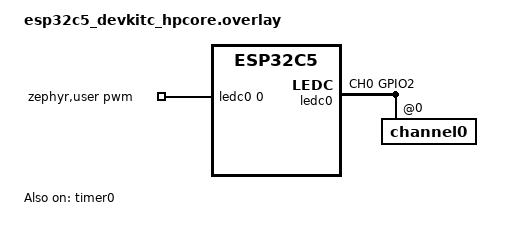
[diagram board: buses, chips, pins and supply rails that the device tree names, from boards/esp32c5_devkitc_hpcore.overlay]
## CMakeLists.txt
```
# SPDX-License-Identifier: Apache-2.0

cmake_minimum_required(VERSION 3.28.0)

find_package(Zephyr REQUIRED HINTS $ENV{ZEPHYR_BASE})
project(counter_capture)

target_sources(app PRIVATE src/capture_test.c)

# Select the trigger-source backend: the emulated counter on native_sim, a PWM
# looped back to the capture pad when the board enables PWM and declares
# "pwms" on /zephyr,user (no external wire), or a GPIO wired to the capture
# pin on other real hardware.
if(CONFIG_COUNTER_CAPTURE_MCUX_QTMR_XBAR_LOOPBACK)
  target_sources(app PRIVATE src/mcux_qtmr_xbar_src.c)
elseif(CONFIG_COUNTER_NATIVE_SIM)
  target_sources(app PRIVATE src/counter_capture_emul_src.c)
elseif(CONFIG_COUNTER_CAPTURE_TRIGGER_PWM)
  target_sources(app PRIVATE src/pwm_src.c)
else()
  target_sources(app PRIVATE src/gpio_src.c)
endif()
```

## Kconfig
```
# SPDX-FileCopyrightText: Copyright The Zephyr Project Contributors
# SPDX-License-Identifier: Apache-2.0

mainmenu "Counter capture test configuration"

source "Kconfig.zephyr"

config NUM_OF_CONTINUOUS_CAPTURES
	int "Number of continuous capture iterations"
	default 5
	range 1 255
	help
	  Number of capture iterations run by each continuous capture test case.

# The trigger source the board provides, from its devicetree
ZEPHYR_USER := zephyr,user

config COUNTER_CAPTURE_TRIGGER_PWM
	bool
	default $(dt_node_has_prop,/$(ZEPHYR_USER),pwms)
	select PWM
	help
	  A PWM output of the zephyr,user node drives the capture input.

config COUNTER_CAPTURE_TRIGGER_GPIO
	bool
	default $(dt_node_has_prop,/$(ZEPHYR_USER),capture-tester-gpios)
	select GPIO
	help
	  A GPIO of the zephyr,user node drives the capture input.

config COUNTER_CAPTURE_MCUX_QTMR_XBAR_LOOPBACK
	bool
	default y if SOC_MIMXRT1064 && !COUNTER_CAPTURE_TRIGGER_PWM && \
		!COUNTER_CAPTURE_TRIGGER_GPIO
	help
	  The RT1064-specific trigger-source backend of the test. It configures
	  XBARA1 and IOMUXC_GPR so QTMR3 timer 0 output drives QTMR1 timer 0
	  input internally, avoiding an external loopback wire while exercising
	  the MCUX QTMR capture path.
```

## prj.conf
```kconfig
CONFIG_COUNTER=y
CONFIG_COUNTER_CAPTURE=y

CONFIG_ZTEST=y
```

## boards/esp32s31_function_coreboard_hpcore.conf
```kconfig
CONFIG_PWM=y
CONFIG_COUNTER_CAPTURE_TOLERANCE_US=1000
```

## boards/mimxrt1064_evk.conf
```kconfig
CONFIG_COUNTER_CAPTURE_MCUX_QTMR_XBAR_LOOPBACK=y
CONFIG_COUNTER_CAPTURE_TOLERANCE_US=1000
```

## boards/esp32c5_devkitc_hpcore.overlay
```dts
/*
 * Copyright (c) 2026 Espressif Systems (Shanghai) Co., Ltd.
 *
 * SPDX-License-Identifier: Apache-2.0
 */

#include <zephyr/dt-bindings/pwm/pwm.h>

/*
 * The capture input is driven and captured on the same pad (GPIO2). A PWM
 * channel drives the pad and the GPIO matrix loops it back to the ETM capture
 * event, so no external wire is required.
 */

/ {
	zephyr,user {
		pwms = <&ledc0 0 PWM_USEC(100) PWM_POLARITY_NORMAL>;
	};

	counter_loopback_0: counter_loopback {
		compatible = "test-counter-capture";
		test-counter-captures = <&capture 0 0>;
	};
};

&pinctrl {
	ledc0_default: ledc0_default {
		group1 {
			pinmux = <LEDC_CH0_GPIO2>;
			/* Keep the input path live so the same pad feeds the capture event. */
			input-enable;
		};
	};
};

&ledc0 {
	pinctrl-0 = <&ledc0_default>;
	pinctrl-names = "default";
	status = "okay";
	#address-cells = <1>;
	#size-cells = <0>;

	channel0@0 {
		reg = <0x0>;
		timer = <0>;
	};
};

&timer0 {
	status = "okay";

	capture: counter {
		status = "okay";
		#counter-capture-cells = <2>;
		capture-gpios = <&gpio0 2 0>;
	};
};
```

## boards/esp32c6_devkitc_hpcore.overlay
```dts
/*
 * Copyright (c) 2026 Espressif Systems (Shanghai) Co., Ltd.
 *
 * SPDX-License-Identifier: Apache-2.0
 */

#include <zephyr/dt-bindings/pwm/pwm.h>

/*
 * The capture input is driven and captured on the same pad (GPIO2). A PWM
 * channel drives the pad and the GPIO matrix loops it back to the ETM capture
 * event, so no external wire is required.
 */

/ {
	zephyr,user {
		pwms = <&ledc0 0 PWM_USEC(100) PWM_POLARITY_NORMAL>;
	};

	counter_loopback_0: counter_loopback {
		compatible = "test-counter-capture";
		test-counter-captures = <&capture 0 0>;
	};
};

&pinctrl {
	ledc0_default: ledc0_default {
		group1 {
			pinmux = <LEDC_CH0_GPIO2>;
			/* Keep the input path live so the same pad feeds the capture event. */
			input-enable;
		};
	};
};

&ledc0 {
	pinctrl-0 = <&ledc0_default>;
	pinctrl-names = "default";
	#address-cells = <1>;
	#size-cells = <0>;
	status = "okay";

	channel0@0 {
		reg = <0x0>;
		timer = <0>;
	};
};

&timer0 {
	status = "okay";

	capture: counter {
		#counter-capture-cells = <2>;
		capture-gpios = <&gpio0 2 0>;
		status = "okay";
	};
};
```

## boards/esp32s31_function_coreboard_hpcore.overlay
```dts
/* Copyright (c) 2026 Espressif Systems (Shanghai) Co., Ltd.
 *
 * SPDX-License-Identifier: Apache-2.0
 */

#include <zephyr/dt-bindings/pwm/pwm.h>
#include <zephyr/dt-bindings/gpio/espressif-esp32-gpio.h>

/ {
	zephyr,user {
		pwms = <&ledc0 0 PWM_USEC(100) PWM_POLARITY_NORMAL>;
	};

	counter_loopback_0: counter_loopback {
		compatible = "test-counter-capture";
		test-counter-captures = <&capture 0 0>;
	};
};

&pinctrl {
	ledc0_default: ledc0_default {
		group1 {
			pinmux = <LEDC_CH0_GPIO22>;
			input-enable;
		};
	};
};

&ledc0 {
	pinctrl-0 = <&ledc0_default>;
	pinctrl-names = "default";
	#address-cells = <1>;
	#size-cells = <0>;
	status = "okay";

	channel0@0 {
		reg = <0x0>;
		timer = <0>;
	};
};

&timer0 {
	status = "okay";

	capture: counter {
		#counter-capture-cells = <2>;
		capture-gpios = <&gpio0 22 ESP32_GPIO_PIN_OUT_EN>;
		status = "okay";
	};
};
```

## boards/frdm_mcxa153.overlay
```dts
/*
 * Copyright 2026 NXP
 *
 * SPDX-License-Identifier: Apache-2.0
 */

#include <zephyr/dt-bindings/pwm/pwm.h>

&pinctrl {
	/* The trigger is routed internally through INPUTMUX. The PWM driver still
	 * requires a default pinctrl state, but this pin is not part of the loopback
	 * path.
	 */
	pinmux_ctimer1_pwm_out: pinmux_ctimer1_pwm_out {
		group0 {
			pinmux = <CT1_MAT0_P2_4>;
			slew-rate = "fast";
			drive-strength = "low";
		};
	};
};

/ {
	zephyr,user {
		pwms = <&ctimer1 1 PWM_USEC(100) PWM_POLARITY_NORMAL>;
	};

	counter_loopback_0: counter_loopback {
		compatible = "test-counter-capture";
		test-counter-captures = <&ctimer2 0 0>;
	};
};

&ctimer1 {
	status = "okay";
	compatible = "nxp,ctimer-pwm";
	prescaler = <95>;
	#pwm-cells = <3>;
	pinctrl-0 = <&pinmux_ctimer1_pwm_out>;
	pinctrl-names = "default";
};

&ctimer2 {
	status = "okay";
	#counter-capture-cells = <2>;
	prescale = <95>;
	/*
	 * Route CTIMER1 match 1 to CTIMER2 CAPTSEL[0] via INPUTMUX0.
	 * Cells: <&inputmux0 index connection> where connection is
	 * kINPUTMUX_Ctimer1M1ToTimer2Captsel = 36U | (TIMER2CAPTSEL0 << 20)
	 * = 0x06000024.
	 */
	mux-states = <&inputmux0 0 0x06000024>;
};
```

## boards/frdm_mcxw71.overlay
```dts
/*
 * SPDX-FileCopyrightText: Copyright 2026 NXP
 *
 * SPDX-License-Identifier: Apache-2.0
 */

#include <zephyr/dt-bindings/gpio/gpio.h>

/*
 * A TPM channel captures the signal present on its own TPMx_CHn pad, and no
 * on-chip route can feed another peripheral output into the capture latch, so
 * the loopback needs an external wire on the Arduino header J2:
 *
 *   D9 (PTA18, GPIO output) ---> D10 (PTB0, TPM1_CH0, capture input)
 */

&pinctrl {
	pinmux_tpm1_capture_in: pinmux_tpm1_capture_in {
		group0 {
			pinmux = <TPM1_CH0_PTB0>;
			drive-strength = "low";
			slew-rate = "fast";
		};
	};
};

/ {
	zephyr,user {
		capture-tester-gpios = <&gpioa 18 GPIO_ACTIVE_HIGH>;
	};

	counter_loopback_0: counter_loopback {
		compatible = "test-counter-capture";
		/* index order must match the order of the capture-tester-gpios */
		test-counter-captures = <&tpm1 0 0>;
	};
};

&gpioa {
	/* Drives the loopback wire from PTA18. */
	status = "okay";
};

&lpspi1 {
	/* PTB0 is the LPSPI1 chip select on this board, release it for TPM1_CH0. */
	status = "disabled";
};

&tpm1 {
	compatible = "nxp,tpm-timer";
	#counter-capture-cells = <2>;
	pinctrl-0 = <&pinmux_tpm1_capture_in>;
	pinctrl-names = "default";
	status = "okay";
};
```

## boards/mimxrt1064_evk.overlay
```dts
/*
 * Copyright 2026 NXP
 *
 * SPDX-License-Identifier: Apache-2.0
 */

/ {
	counter_loopback_0: counter_loopback {
		compatible = "test-counter-capture";
		test-counter-captures = <&qtmr1_timer0 0 0>;
	};
};

&qtmr1 {
	status = "okay";
};

&qtmr1_timer0 {
	#counter-capture-cells = <2>;
	primary-source = "kQTMR_ClockDivide_128";
	secondary-source = "kQTMR_Counter0InputPin";
	mode = "kQTMR_PriSrcRiseEdge";
	status = "okay";
};
```

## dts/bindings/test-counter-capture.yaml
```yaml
#
# Copyright (c) 2026 Meta Platforms
#
# SPDX-License-Identifier: Apache-2.0
#

description: |
    This binding provides resources required to build and run the
    tests/drivers/counter/counter_capture test in Zephyr.

compatible: "test-counter-capture"

properties:
  test-counter-captures:
    type: phandle-array
    required: true
    description: |
      Counter pins that will be used for capturing a rising and falling edge of a
      gpio signal. The first index is the channel number.

  capture-tolerance-us:
    type: int
    default: 100
    description: |
      Largest difference, in microseconds, between the counter value read
      just before the trigger toggles and the timestamp the capture records,
      for the signal path of this board.
```

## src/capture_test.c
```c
/*
 * Copyright (c) 2025 Meta Platforms
 *
 * SPDX-License-Identifier: Apache-2.0
 */

#include <string.h>
#include <zephyr/kernel.h>
#include <zephyr/drivers/counter.h>
#include <zephyr/sys/util.h>
#include <zephyr/ztest.h>

#include "trigger_src.h"

#define NUM_OF_CONTINUOUS_CAPTURES CONFIG_NUM_OF_CONTINUOUS_CAPTURES
#define CAPTURE_TOLERANCE_US       CONFIG_COUNTER_CAPTURE_TOLERANCE_US
#define EDGE_RISING                1
#define EDGE_FALLING               0
#define CAPTURE_COUNT \
	DT_PROP_LEN(DT_NODELABEL(counter_loopback_0), test_counter_captures)

/* clang-format off */
const struct counter_capture_dt_spec capture_dt_specs[] = {
	DT_FOREACH_PROP_ELEM_SEP(
		DT_NODELABEL(counter_loopback_0),
		test_counter_captures,
		COUNTER_CAPTURE_DT_SPEC_GET_BY_IDX, (,))
};
/* clang-format on */

K_SEM_DEFINE(capture_sem, 0, 1);

static struct {
	uint32_t expected_ticks;
	bool timing_ok;
} capture_ctx;

void capture_cb(const struct device *dev, uint8_t chan, counter_capture_flags_t flags,
		uint32_t ticks, void *user_data)
{
	uint32_t tolerance_ticks = counter_us_to_ticks(dev, CAPTURE_TOLERANCE_US);
	uint32_t diff = (ticks >= capture_ctx.expected_ticks)
				? (ticks - capture_ctx.expected_ticks)
				: (capture_ctx.expected_ticks - ticks);

	capture_ctx.timing_ok = (diff <= tolerance_ticks);

	TC_PRINT("Capture callback: channel %d, flags %d, ticks %u (%lluus), "
		 "expected ~%u, diff %u ticks (%lluus) [%s]\n",
		 chan, flags, ticks, counter_ticks_to_us(dev, ticks),
		 capture_ctx.expected_ticks, diff, counter_ticks_to_us(dev, diff),
		 capture_ctx.timing_ok ? "PASS" : "FAIL");

	k_sem_give(&capture_sem);
}

static int counter_capture_test_edge(size_t idx, int trigger_level)
{
	int ret;

	if (trigger_src_get(idx) == trigger_level) {
		ret = trigger_src_set(idx, !trigger_level);
		zassert_ok(ret, "idx %zu: failed to set trigger source to settle state", idx);
		k_msleep(2);
	}

	ret = counter_get_value(capture_dt_specs[idx].dev, &capture_ctx.expected_ticks);
	zassert_ok(ret, "idx %zu: failed to get counter value", idx);

	ret = trigger_src_set(idx, trigger_level);
	zassert_ok(ret, "idx %zu: failed to drive trigger source", idx);

	ret = k_sem_take(&capture_sem, K_MSEC(100));
	if (ret != 0) {
		return ret;
	}

	zassert_true(capture_ctx.timing_ok,
		     "idx %zu: capture timestamp outside tolerance (%d us)",
		     idx, CAPTURE_TOLERANCE_US);

	ret = trigger_src_get(idx);
	zassert_equal(ret, trigger_level,
		      "idx %zu: trigger source state does not match expected value of %d: %d",
		      idx, trigger_level, ret);

	return 0;
}

/***************************************************************
 * Per-channel test runners
 ***************************************************************/

static void run_rising_edge_continuous(size_t idx)
{
	const struct counter_capture_dt_spec *spec = &capture_dt_specs[idx];
	int ret;

	ret = counter_capture_configure(spec->dev, spec->chan_id,
					COUNTER_CAPTURE_RISING_EDGE | COUNTER_CAPTURE_CONTINUOUS,
					capture_cb, NULL);
	if (ret == -ENOTSUP) {
		ztest_test_skip();
	}
	zassert_ok(ret, "idx %zu channel %u: failed to configure capture", idx, spec->chan_id);

	zassert_ok(counter_enable_capture(spec->dev, spec->chan_id),
		   "idx %zu channel %u: failed to enable capture", idx, spec->chan_id);

	for (uint8_t i = 0; i < NUM_OF_CONTINUOUS_CAPTURES; i++) {
		ret = counter_capture_test_edge(idx, EDGE_RISING);
		zassert_ok(ret, "idx %zu channel %u: rising edge capture test failed", idx,
			   spec->chan_id);
	}

	zassert_ok(counter_disable_capture(spec->dev, spec->chan_id),
		   "idx %zu channel %u: failed to disable capture", idx, spec->chan_id);
}

static void run_rising_edge_single(size_t idx)
{
	const struct counter_capture_dt_spec *spec = &capture_dt_specs[idx];
	int ret;

	ret = counter_capture_configure(spec->dev, spec->chan_id,
					COUNTER_CAPTURE_RISING_EDGE | COUNTER_CAPTURE_SINGLE_SHOT,
					capture_cb, NULL);
	if (ret == -ENOTSUP) {
		ztest_test_skip();
	}
	zassert_ok(ret, "idx %zu channel %u: failed to configure capture", idx, spec->chan_id);

	zassert_ok(counter_enable_capture(spec->dev, spec->chan_id),
		   "idx %zu channel %u: failed to enable capture", idx, spec->chan_id);

	ret = counter_capture_test_edge(idx, EDGE_RISING);
	zassert_ok(ret, "idx %zu channel %u: rising edge capture test failed", idx, spec->chan_id);

	ret = counter_capture_test_edge(idx, EDGE_RISING);
	zassert_equal(ret, -EAGAIN,
		      "idx %zu channel %u: capture callback should not be called after "
		      "single shot capture",
		      idx, spec->chan_id);

	zassert_ok(counter_disable_capture(spec->dev, spec->chan_id),
		   "idx %zu channel %u: failed to disable capture", idx, spec->chan_id);
}

static void run_falling_edge_continuous(size_t idx)
{
	const struct counter_capture_dt_spec *spec = &capture_dt_specs[idx];
	int ret;

	ret = counter_capture_configure(spec->dev, spec->chan_id,
					COUNTER_CAPTURE_FALLING_EDGE | COUNTER_CAPTURE_CONTINUOUS,
					capture_cb, NULL);
	if (ret == -ENOTSUP) {
		ztest_test_skip();
	}
	zassert_ok(ret, "idx %zu channel %u: failed to configure capture", idx, spec->chan_id);

	zassert_ok(counter_enable_capture(spec->dev, spec->chan_id),
		   "idx %zu channel %u: failed to enable capture", idx, spec->chan_id);

	for (uint8_t i = 0; i < NUM_OF_CONTINUOUS_CAPTURES; i++) {
		ret = counter_capture_test_edge(idx, EDGE_FALLING);
		zassert_ok(ret, "idx %zu channel %u: falling edge capture test failed", idx,
			   spec->chan_id);
	}

	zassert_ok(counter_disable_capture(spec->dev, spec->chan_id),
		   "idx %zu channel %u: failed to disable capture", idx, spec->chan_id);
}

static void run_falling_edge_single(size_t idx)
{
	const struct counter_capture_dt_spec *spec = &capture_dt_specs[idx];
	int ret;

	ret = counter_capture_configure(spec->dev, spec->chan_id,
					COUNTER_CAPTURE_FALLING_EDGE | COUNTER_CAPTURE_SINGLE_SHOT,
					capture_cb, NULL);
	if (ret == -ENOTSUP) {
		ztest_test_skip();
	}
	zassert_ok(ret, "idx %zu channel %u: failed to configure capture", idx, spec->chan_id);

	zassert_ok(counter_enable_capture(spec->dev, spec->chan_id),
		   "idx %zu channel %u: failed to enable capture", idx, spec->chan_id);

	ret = counter_capture_test_edge(idx, EDGE_FALLING);
	zassert_ok(ret, "idx %zu channel %u: falling edge capture test failed", idx,
		   spec->chan_id);

	ret = counter_capture_test_edge(idx, EDGE_FALLING);
	zassert_equal(ret, -EAGAIN,
		      "idx %zu channel %u: capture callback should not be called after "
		      "single shot capture",
		      idx, spec->chan_id);

	zassert_ok(counter_disable_capture(spec->dev, spec->chan_id),
		   "idx %zu channel %u: failed to disable capture", idx, spec->chan_id);
}

static void run_both_edges_continuous(size_t idx)
{
	const struct counter_capture_dt_spec *spec = &capture_dt_specs[idx];
	int ret;

	ret = counter_capture_configure(spec->dev, spec->chan_id,
					COUNTER_CAPTURE_BOTH_EDGES | COUNTER_CAPTURE_CONTINUOUS,
					capture_cb, NULL);
	if (ret == -ENOTSUP) {
		ztest_test_skip();
	}
	zassert_ok(ret, "idx %zu channel %u: failed to configure capture", idx, spec->chan_id);

	zassert_ok(counter_enable_capture(spec->dev, spec->chan_id),
		   "idx %zu channel %u: failed to enable capture", idx, spec->chan_id);

	int first_edge = (trigger_src_get(idx) == EDGE_FALLING)
				 ? EDGE_RISING
				 : EDGE_FALLING;

	for (uint8_t i = 0; i < NUM_OF_CONTINUOUS_CAPTURES; i++) {
		ret = counter_capture_test_edge(idx, first_edge);
		zassert_ok(ret, "idx %zu channel %u: edge capture test failed", idx,
			   spec->chan_id);

		ret = counter_capture_test_edge(
			idx, first_edge == EDGE_RISING ? EDGE_FALLING : EDGE_RISING);
		zassert_ok(ret, "idx %zu channel %u: edge capture test failed", idx,
			   spec->chan_id);
	}

	zassert_ok(counter_disable_capture(spec->dev, spec->chan_id),
		   "idx %zu channel %u: failed to disable capture", idx, spec->chan_id);
}

static void run_both_edges_single(size_t idx)
{
	const struct counter_capture_dt_spec *spec = &capture_dt_specs[idx];
	int ret;

	ret = counter_capture_configure(spec->dev, spec->chan_id,
					COUNTER_CAPTURE_BOTH_EDGES | COUNTER_CAPTURE_SINGLE_SHOT,
					capture_cb, NULL);
	if (ret == -ENOTSUP) {
		ztest_test_skip();
	}
	zassert_ok(ret, "idx %zu channel %u: failed to configure capture", idx, spec->chan_id);

	zassert_ok(counter_enable_capture(spec->dev, spec->chan_id),
		   "idx %zu channel %u: failed to enable capture", idx, spec->chan_id);

	int first_edge = (trigger_src_get(idx) == EDGE_FALLING)
				 ? EDGE_RISING
				 : EDGE_FALLING;

	ret = counter_capture_test_edge(idx, first_edge);
	zassert_ok(ret, "idx %zu channel %u: edge capture test failed", idx, spec->chan_id);

	ret = counter_capture_test_edge(
		idx, first_edge == EDGE_RISING ? EDGE_FALLING : EDGE_RISING);
	zassert_equal(ret, -EAGAIN,
		      "idx %zu channel %u: capture callback should not be called after "
		      "single shot capture",
		      idx, spec->chan_id);

	zassert_ok(counter_disable_capture(spec->dev, spec->chan_id),
		   "idx %zu channel %u: failed to disable capture", idx, spec->chan_id);
}

/***************************************************************
 * Generated per-channel ZTESTs
 ***************************************************************/

#define _DEFINE_RISING_CONTINUOUS(n, _) \
	ZTEST(counter_capture, test_rising_edge_continuous_capture_##n) \
	{ run_rising_edge_continuous(n); }

#define _DEFINE_RISING_SINGLE(n, _) \
	ZTEST(counter_capture, test_rising_edge_single_capture_##n) \
	{ run_rising_edge_single(n); }

#define _DEFINE_FALLING_CONTINUOUS(n, _) \
	ZTEST(counter_capture, test_falling_edge_continuous_capture_##n) \
	{ run_falling_edge_continuous(n); }

#define _DEFINE_FALLING_SINGLE(n, _) \
	ZTEST(counter_capture, test_falling_edge_single_capture_##n) \
	{ run_falling_edge_single(n); }

#define _DEFINE_BOTH_CONTINUOUS(n, _) \
	ZTEST(counter_capture, test_both_edges_continuous_capture_##n) \
	{ run_both_edges_continuous(n); }

#define _DEFINE_BOTH_SINGLE(n, _) \
	ZTEST(counter_capture, test_both_edges_single_capture_##n) \
	{ run_both_edges_single(n); }

LISTIFY(CAPTURE_COUNT, _DEFINE_RISING_CONTINUOUS, ())
LISTIFY(CAPTURE_COUNT, _DEFINE_RISING_SINGLE, ())
LISTIFY(CAPTURE_COUNT, _DEFINE_FALLING_CONTINUOUS, ())
LISTIFY(CAPTURE_COUNT, _DEFINE_FALLING_SINGLE, ())
LISTIFY(CAPTURE_COUNT, _DEFINE_BOTH_CONTINUOUS, ())
LISTIFY(CAPTURE_COUNT, _DEFINE_BOTH_SINGLE, ())

/***************************************************************
 * Suite fixtures
 ***************************************************************/

static void counter_before(void *f)
{
	int ret;

	ARG_UNUSED(f);

	k_sem_reset(&capture_sem);
	memset(&capture_ctx, 0, sizeof(capture_ctx));

	for (size_t idx = 0; idx < ARRAY_SIZE(capture_dt_specs); idx++) {
		const struct counter_capture_dt_spec *spec = &capture_dt_specs[idx];

		ret = counter_reset(spec->dev);
		zassert_ok(ret, "idx %zu channel %u: failed to reset counter", idx, spec->chan_id);

		ret = counter_start(spec->dev);
		zassert_ok(ret, "idx %zu channel %u: failed to start counter", idx, spec->chan_id);
	}
}

static void counter_after(void *f)
{
	int ret;

	ARG_UNUSED(f);

	for (size_t idx = 0; idx < ARRAY_SIZE(capture_dt_specs); idx++) {
		const struct counter_capture_dt_spec *spec = &capture_dt_specs[idx];

		ret = counter_stop(spec->dev);
		zassert_ok(ret, "idx %zu channel %u: failed to stop counter", idx, spec->chan_id);
	}
}

static void *counter_setup(void)
{
	int ret;

	for (size_t idx = 0; idx < ARRAY_SIZE(capture_dt_specs); idx++) {
		const struct counter_capture_dt_spec *spec = &capture_dt_specs[idx];

		zassert_true(device_is_ready(spec->dev),
			     "idx %zu channel %u: counter device is not ready", idx, spec->chan_id);

		ret = trigger_src_setup(idx);
		zassert_ok(ret, "idx %zu channel %u: failed to set up trigger source", idx,
			   spec->chan_id);
	}

	return NULL;
}

ZTEST_SUITE(counter_capture, NULL, counter_setup, counter_before, counter_after, NULL);
```

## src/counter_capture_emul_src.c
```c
/*
 * Copyright (c) 2026 Meta Platforms
 *
 * SPDX-License-Identifier: Apache-2.0
 */

/*
 * Trigger-source backend for native_sim: the capture input is driven directly
 * through the emulated counter backend API, no physical wiring required.
 */

#include <zephyr/drivers/counter/counter_capture_emul.h>

#include "trigger_src.h"

int trigger_src_setup(size_t idx)
{
	return counter_capture_emul_input_set_dt(&capture_dt_specs[idx], 0);
}

int trigger_src_get(size_t idx)
{
	return counter_capture_emul_input_get_dt(&capture_dt_specs[idx]);
}

int trigger_src_set(size_t idx, int level)
{
	return counter_capture_emul_input_set_dt(&capture_dt_specs[idx], level);
}
```

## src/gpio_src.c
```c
/*
 * Copyright (c) 2026 Meta Platforms
 *
 * SPDX-License-Identifier: Apache-2.0
 */

/*
 * Trigger-source backend for real hardware: the capture input is driven by a
 * GPIO that is physically wired (loopback) to the counter's capture pin.
 */

#include <zephyr/drivers/gpio.h>
#include <zephyr/sys/util.h>
#include <zephyr/devicetree.h>

#include "trigger_src.h"

#define CAPTURE_COUNT DT_PROP_LEN(DT_NODELABEL(counter_loopback_0), test_counter_captures)

/* clang-format off */
static const struct gpio_dt_spec capture_tester_gpios[] = {
	DT_FOREACH_PROP_ELEM_SEP(
		DT_PATH(zephyr_user),
		capture_tester_gpios,
		GPIO_DT_SPEC_GET_BY_IDX, (,))
};
/* clang-format on */

BUILD_ASSERT(ARRAY_SIZE(capture_tester_gpios) == CAPTURE_COUNT,
	     "capture_tester_gpios and test-counter-captures size mismatch");

int trigger_src_setup(size_t idx)
{
	if (!gpio_is_ready_dt(&capture_tester_gpios[idx])) {
		return -ENODEV;
	}

	return gpio_pin_configure_dt(&capture_tester_gpios[idx], GPIO_OUTPUT_LOW);
}

int trigger_src_get(size_t idx)
{
	return gpio_pin_get_dt(&capture_tester_gpios[idx]);
}

int trigger_src_set(size_t idx, int level)
{
	return gpio_pin_set_dt(&capture_tester_gpios[idx], level);
}
```

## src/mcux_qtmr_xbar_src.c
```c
/*
 * Copyright 2026 NXP
 *
 * SPDX-License-Identifier: Apache-2.0
 */

#include <stddef.h>
#include <stdint.h>
#include <zephyr/devicetree.h>
#include <zephyr/sys/util.h>

#include <fsl_clock.h>
#include <fsl_iomuxc.h>
#include <fsl_qtmr.h>

#include "trigger_src.h"

#define CAPTURE_COUNT DT_PROP_LEN(DT_NODELABEL(counter_loopback_0), test_counter_captures)

BUILD_ASSERT(CAPTURE_COUNT == 1, "RT1064 QTMR XBAR loopback supports one capture channel");

static int driven_level[CAPTURE_COUNT];

static void force_qtmr3_timer0_output(int level)
{
	uint16_t sctrl = TMR3->CHANNEL[kQTMR_Channel_0].SCTRL;

	sctrl &= ~(uint16_t)(TMR_SCTRL_VAL_MASK | TMR_SCTRL_FORCE_MASK);
	sctrl |= TMR_SCTRL_OEN_MASK | TMR_SCTRL_VAL(level ? 1U : 0U) | TMR_SCTRL_FORCE_MASK;
	TMR3->CHANNEL[kQTMR_Channel_0].SCTRL = sctrl;
}

static void setup_internal_loopback(void)
{
	static bool configured;
	qtmr_config_t config;
	uint32_t gpr6;

	if (configured) {
		return;
	}

	QTMR_GetDefaultConfig(&config);
	config.primarySource = kQTMR_ClockDivide_128;
	QTMR_Init(TMR3, kQTMR_Channel_0, &config);
	QTMR_StopTimer(TMR3, kQTMR_Channel_0);

	CLOCK_EnableClock(kCLOCK_Xbar1);
	XBARA1->SEL43 = (XBARA1->SEL43 & ~XBARA_SEL43_SEL86_MASK) |
			XBARA_SEL43_SEL86(kXBARA1_InputQtimer3Tmr0Output);

	gpr6 = IOMUXC_GPR->GPR6 & ~IOMUXC_GPR_GPR6_QTIMER1_TRM0_INPUT_SEL_MASK;
	IOMUXC_GPR->GPR6 = gpr6 | IOMUXC_GPR_GPR6_QTIMER1_TRM0_INPUT_SEL(1U);

	force_qtmr3_timer0_output(0);
	driven_level[0] = 0;
	configured = true;
}

int trigger_src_setup(size_t idx)
{
	if (idx >= CAPTURE_COUNT) {
		return -EINVAL;
	}

	setup_internal_loopback();
	force_qtmr3_timer0_output(0);
	driven_level[idx] = 0;

	return 0;
}

int trigger_src_get(size_t idx)
{
	if (idx >= CAPTURE_COUNT) {
		return -EINVAL;
	}

	return driven_level[idx];
}

int trigger_src_set(size_t idx, int level)
{
	if (idx >= CAPTURE_COUNT) {
		return -EINVAL;
	}

	force_qtmr3_timer0_output(level);
	driven_level[idx] = level ? 1 : 0;

	return 0;
}
```

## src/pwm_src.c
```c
/*
 * Copyright (c) 2026 Espressif Systems (Shanghai) Co., Ltd.
 *
 * SPDX-License-Identifier: Apache-2.0
 */

/*
 * PWM trigger-source backend: the capture input is driven by a PWM channel
 * routed to the same pad it captures on. The PWM is set to a static duty
 * (fully low or fully high) so each level change produces a single, clean,
 * peripheral-generated edge. The board loops the PWM output back to the
 * capture input, so no external wire is needed.
 *
 * Any board can use this backend by declaring a "pwms" property on the
 * "/zephyr,user" node, one entry per capture channel.
 */

#include <zephyr/drivers/pwm.h>
#include <zephyr/sys/util.h>
#include <zephyr/devicetree.h>

#include "trigger_src.h"

#define CAPTURE_COUNT DT_PROP_LEN(DT_NODELABEL(counter_loopback_0), test_counter_captures)

/* Arbitrary period; only fully-off (0) and fully-on (= period) duty are used. */
#define TRIGGER_PWM_PERIOD PWM_USEC(100)

#define PWM_SPEC_BY_IDX(node_id, prop, idx) PWM_DT_SPEC_GET_BY_IDX(node_id, idx)

/* clang-format off */
static const struct pwm_dt_spec capture_tester_pwms[] = {
	DT_FOREACH_PROP_ELEM_SEP(DT_PATH(zephyr_user), pwms, PWM_SPEC_BY_IDX, (,))
};
/* clang-format on */

BUILD_ASSERT(ARRAY_SIZE(capture_tester_pwms) == CAPTURE_COUNT,
	     "capture_tester_pwms and test-counter-captures size mismatch");

/* PWM has no readback, so the last driven level is cached per channel. */
static int driven_level[CAPTURE_COUNT];

int trigger_src_setup(size_t idx)
{
	if (!pwm_is_ready_dt(&capture_tester_pwms[idx])) {
		return -ENODEV;
	}

	driven_level[idx] = 0;

	return pwm_set_dt(&capture_tester_pwms[idx], TRIGGER_PWM_PERIOD, 0);
}

int trigger_src_get(size_t idx)
{
	return driven_level[idx];
}

int trigger_src_set(size_t idx, int level)
{
	int ret;

	ret = pwm_set_dt(&capture_tester_pwms[idx], TRIGGER_PWM_PERIOD,
			 level ? TRIGGER_PWM_PERIOD : 0);
	if (ret != 0) {
		return ret;
	}

	driven_level[idx] = level ? 1 : 0;

	return 0;
}
```

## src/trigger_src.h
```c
/*
 * Copyright (c) 2026 Meta Platforms
 *
 * SPDX-License-Identifier: Apache-2.0
 */

#ifndef COUNTER_CAPTURE_TEST_TRIGGER_SRC_H_
#define COUNTER_CAPTURE_TEST_TRIGGER_SRC_H_

#include <stddef.h>
#include <zephyr/drivers/counter.h>

/*
 * Capture channels under test. Defined in capture_test.c and shared with the
 * trigger-source backend (one of src/gpio_src.c or src/counter_capture_emul_src.c
 * is compiled, selected by CMake).
 */
extern const struct counter_capture_dt_spec capture_dt_specs[];

/*
 * Trigger-source backend interface. A capture edge is produced by driving a
 * level on the capture input of channel @p idx (index into capture_dt_specs).
 */

/** One-time per-channel setup. Returns 0 on success or a negative errno. */
int trigger_src_setup(size_t idx);

/** Read the current driven level (0/1). Returns a negative errno on error. */
int trigger_src_get(size_t idx);

/** Drive @p level on the capture input, producing an edge. Returns 0 or errno. */
int trigger_src_set(size_t idx, int level);

#endif /* COUNTER_CAPTURE_TEST_TRIGGER_SRC_H_ */
```
